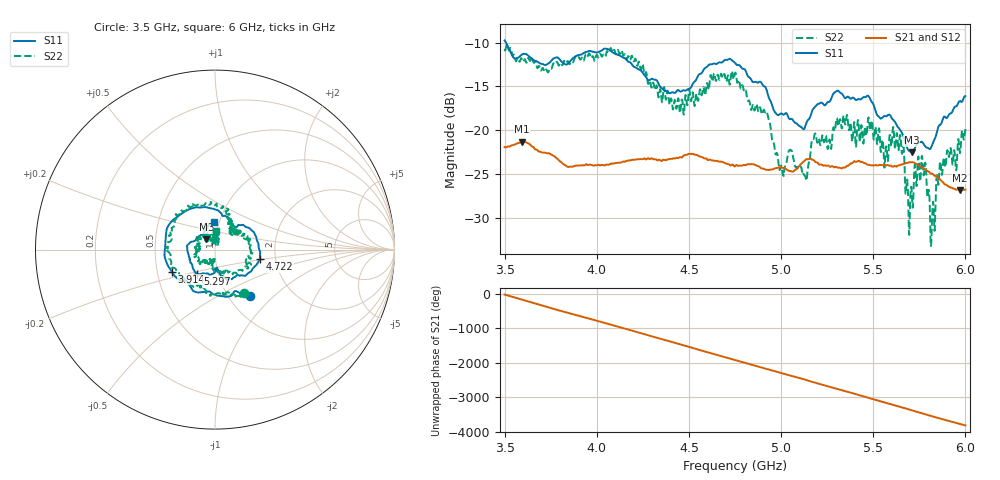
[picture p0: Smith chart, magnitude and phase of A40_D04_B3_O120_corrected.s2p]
! Created with skrf 1.9.0 (http://scikit-rf.org).
# Hz S RI R 50.0
!freq ReS11 ImS11 ReS21 ImS21 ReS12 ImS12 ReS22 ImS22
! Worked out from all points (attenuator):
!   1601 points, 3.5 GHz to 6 GHz, reference 50 ohm
!   highest |S21| = -21.30 dB at 3.595 GHz (marker M1); lowest = -26.8 dB at 5.972 GHz (marker M2)
!   lowest |S11| = -22.5 dB at 5.709 GHz (marker M3), VSWR 1.16, Z = 45.2 + j5.25 ohm
!   |S11| at or under -10 dB: 3.508 GHz to end of sweep
!   |S22| runs from -33.2 to -10.2 dB; largest |S21 - S12| = 0.001
!   S11 on the Smith chart (normalised r, x): 3.5 GHz: 1.26, -0.73; 3.914 GHz: 0.60, -0.16; 4.722 GHz: 1.65, -0.19; 5.297 GHz: 0.80, -0.22; 6 GHz: 0.94, +0.30
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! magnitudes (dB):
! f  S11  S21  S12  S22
! 3.5 GHz  -9.8  -21.9  -21.9  -10.8
! 3.595 GHz  -11.3  -21.3  -21.3  -12.0
! 3.914 GHz  -11.4  -24.0  -24.0  -11.9
! 3.917 GHz  -11.4  -24.0  -24.0  -11.8
! 4.125 GHz  -11.5  -23.7  -23.7  -11.3
! 4.334 GHz  -14.7  -23.4  -23.3  -16.2
! 4.722 GHz  -11.8  -24.0  -23.9  -14.8
! 4.75 GHz  -12.3  -24.1  -24.0  -13.5
! 4.919 GHz  -15.2  -24.5  -24.5  -17.8
! 5.003 GHz  -18.1  -24.3  -24.2  -24.3
! 5.131 GHz  -19.6  -23.4  -23.4  -25.3
! 5.167 GHz  -17.9  -23.3  -23.3  -21.1
! 5.297 GHz  -15.6  -24.2  -24.1  -19.2
! 5.584 GHz  -18.2  -24.0  -24.0  -21.8
! 5.655 GHz  -20.3  -23.9  -23.8  -22.6
! 5.686 GHz  -22.1  -23.7  -23.7  -26.1
! 5.709 GHz  -22.5  -23.6  -23.6  -27.2
! 5.773 GHz  -21.6  -24.4  -24.3  -25.1
! 5.822 GHz  -21.5  -25.0  -24.9  -28.8
! 5.855 GHz  -19.5  -25.5  -25.4  -26.0
! 5.972 GHz  -16.7  -26.8  -26.7  -22.5
! 6 GHz  -16.1  -26.8  -26.7  -19.9
